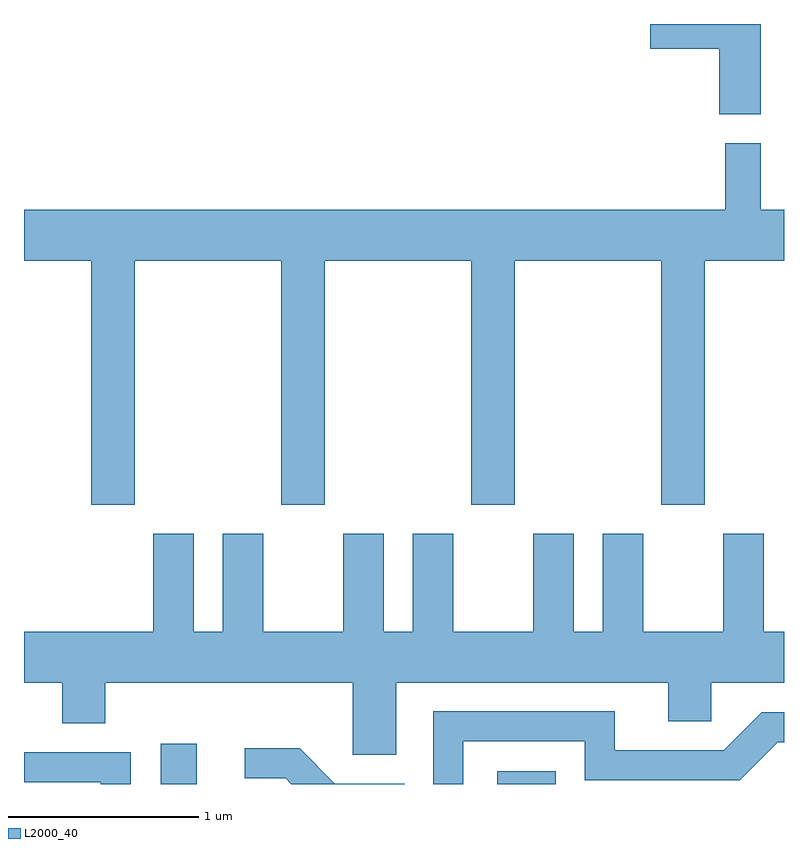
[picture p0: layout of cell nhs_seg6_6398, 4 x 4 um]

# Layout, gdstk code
import gdstk
lib = gdstk.Library(unit=1e-6, precision=1e-09)
def R(c, l, rs):  # rectangles x0, y0, x1, y1
    for r in rs: c.add(gdstk.rectangle(r[:2], r[2:], *l))
def P(c, l, *ps):  # polygons
    for p in ps: c.add(gdstk.Polygon(p, *l))
L2000_40 = (2000, 40)

nhs_seg6_6398 = lib.new_cell('nhs_seg6_6398')
R(nhs_seg6_6398, L2000_40, [(380.331,1556.162,380.519,1556.374), (382.101,1556.162,382.409,1556.229)])
P(nhs_seg6_6398, L2000_40, [(383.489,1560.162),(382.906,1560.162),(382.906,1560.031),(383.271,1560.031),(383.271,1559.686),(383.489,1559.686)],
  [(380.194,1558.916),(380.966,1558.916),(380.966,1557.631),(381.194,1557.631),(381.194,1558.916),(381.966,1558.916),(381.966,1557.631),(382.194,1557.631),(382.194,1558.916),(382.966,1558.916),(382.966,1557.631),(383.194,1557.631),(383.194,1558.916),(383.611,1558.916),(383.611,1559.184),(383.489,1559.184),(383.489,1559.534),(383.301,1559.534),(383.301,1559.184),(379.611,1559.184),(379.611,1558.916),(379.966,1558.916),(379.966,1557.631),(380.194,1557.631)],
  [(381.569,1556.696),(383.001,1556.696),(383.001,1556.491),(383.229,1556.491),(383.229,1556.696),(383.611,1556.696),(383.611,1556.964),(383.504,1556.964),(383.504,1557.479),(383.291,1557.479),(383.291,1556.964),(382.869,1556.964),(382.869,1557.479),(382.656,1557.479),(382.656,1556.964),(382.504,1556.964),(382.504,1557.479),(382.291,1557.479),(382.291,1556.964),(381.869,1556.964),(381.869,1557.479),(381.656,1557.479),(381.656,1556.964),(381.504,1556.964),(381.504,1557.479),(381.291,1557.479),(381.291,1556.964),(380.869,1556.964),(380.869,1557.479),(380.656,1557.479),(380.656,1556.964),(380.504,1556.964),(380.504,1557.479),(380.291,1557.479),(380.291,1556.964),(379.611,1556.964),(379.611,1556.696),(379.811,1556.696),(379.811,1556.481),(380.039,1556.481),(380.039,1556.696),(381.341,1556.696),(381.341,1556.316),(381.569,1556.316)],
  [(381.924,1556.386),(382.561,1556.386),(382.561,1556.181),(383.377,1556.181),(383.577,1556.381),(383.611,1556.381),(383.611,1556.539),(383.494,1556.539),(383.294,1556.339),(382.719,1556.339),(382.719,1556.544),(381.766,1556.544),(381.766,1556.162),(381.924,1556.162)],
  [(381.614,1556.164),(381.247,1556.164),(381.062,1556.349),(380.773,1556.349),(380.773,1556.191),(380.989,1556.191),(381.018,1556.162),(381.614,1556.162)],
  [(380.174,1556.329),(379.611,1556.329),(379.611,1556.171),(380.016,1556.171),(380.016,1556.162),(380.174,1556.162)])

lib.write_gds('nhs_seg6_6398.gds')
